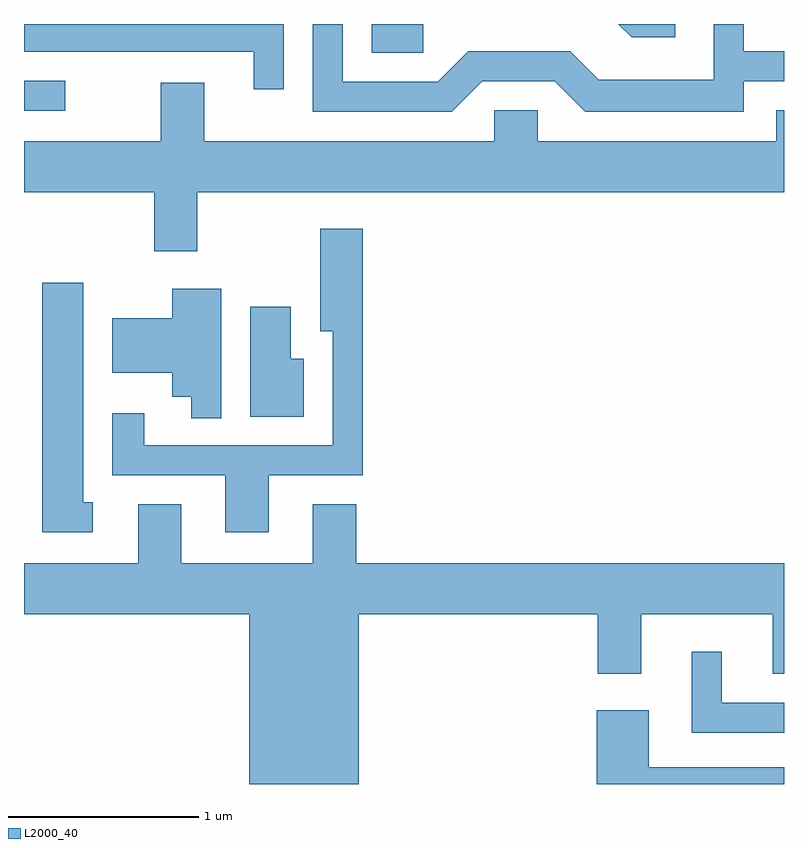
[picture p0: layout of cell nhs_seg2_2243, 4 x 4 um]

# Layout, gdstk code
import gdstk
lib = gdstk.Library(unit=1e-6, precision=1e-09)
def R(c, l, rs):  # rectangles x0, y0, x1, y1
    for r in rs: c.add(gdstk.rectangle(r[:2], r[2:], *l))
def P(c, l, *ps):  # polygons
    for p in ps: c.add(gdstk.Polygon(p, *l))
L2000_40 = (2000, 40)

nhs_seg2_2243 = lib.new_cell('nhs_seg2_2243')
R(nhs_seg2_2243, L2000_40, [(249.611,1115.346,249.828,1115.504), (251.441,1115.651,251.713,1115.802)])
P(nhs_seg2_2243, L2000_40, [(253.038,1115.802),(252.738,1115.802),(252.809,1115.731),(253.038,1115.731)],
  [(252.022,1115.501),(252.404,1115.501),(252.564,1115.341),(253.399,1115.341),(253.399,1115.501),(253.611,1115.501),(253.611,1115.659),(253.399,1115.659),(253.399,1115.802),(253.241,1115.802),(253.241,1115.509),(252.637,1115.509),(252.487,1115.659),(251.949,1115.659),(251.789,1115.499),(251.289,1115.499),(251.289,1115.802),(251.131,1115.802),(251.131,1115.341),(251.862,1115.341)],
  [(250.979,1115.802),(249.611,1115.802),(249.611,1115.656),(250.821,1115.656),(250.821,1115.458),(250.979,1115.458)],
  [(250.524,1114.916),(253.611,1114.916),(253.611,1115.349),(253.571,1115.349),(253.571,1115.184),(252.314,1115.184),(252.314,1115.349),(252.086,1115.349),(252.086,1115.184),(250.559,1115.184),(250.559,1115.494),(250.331,1115.494),(250.331,1115.184),(249.611,1115.184),(249.611,1114.916),(250.296,1114.916),(250.296,1114.606),(250.524,1114.606)],
  [(250.899,1113.426),(251.394,1113.426),(251.394,1114.724),(251.171,1114.724),(251.171,1114.186),(251.236,1114.186),(251.236,1113.584),(250.244,1113.584),(250.244,1113.753),(250.076,1113.753),(250.076,1113.426),(250.671,1113.426),(250.671,1113.126),(250.899,1113.126)],
  [(249.973,1113.284),(249.924,1113.284),(249.924,1114.439),(249.706,1114.439),(249.706,1113.126),(249.973,1113.126)],
  [(250.649,1114.409),(250.391,1114.409),(250.391,1114.254),(250.076,1114.254),(250.076,1113.966),(250.391,1113.966),(250.391,1113.841),(250.491,1113.841),(250.491,1113.728),(250.649,1113.728)],
  [(251.084,1114.039),(251.014,1114.039),(251.014,1114.314),(250.801,1114.314),(250.801,1113.736),(251.084,1113.736)],
  [(251.374,1112.696),(252.631,1112.696),(252.631,1112.381),(252.859,1112.381),(252.859,1112.696),(253.551,1112.696),(253.551,1112.381),(253.611,1112.381),(253.611,1112.964),(251.359,1112.964),(251.359,1113.274),(251.131,1113.274),(251.131,1112.964),(250.439,1112.964),(250.439,1113.274),(250.211,1113.274),(250.211,1112.964),(249.611,1112.964),(249.611,1112.696),(250.796,1112.696),(250.796,1111.802),(251.374,1111.802)],
  [(253.611,1112.229),(253.284,1112.229),(253.284,1112.498),(253.126,1112.498),(253.126,1112.071),(253.611,1112.071)],
  [(253.611,1111.889),(252.899,1111.889),(252.899,1112.189),(252.626,1112.189),(252.626,1111.802),(253.611,1111.802)])

lib.write_gds('nhs_seg2_2243.gds')
